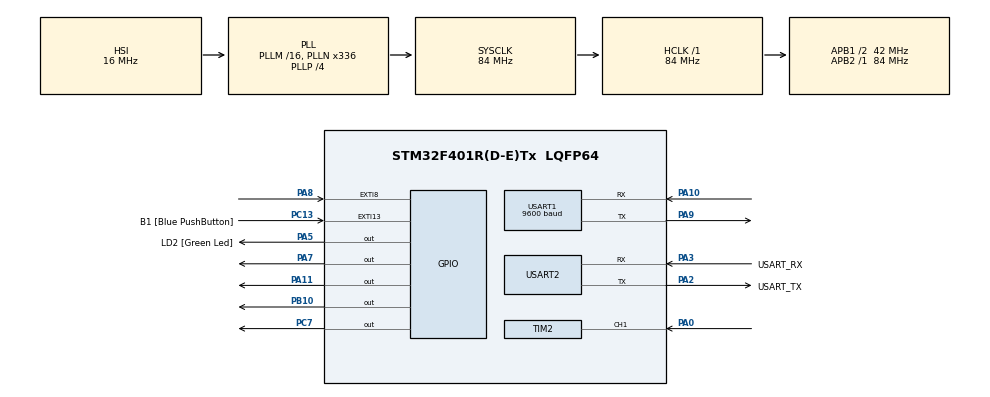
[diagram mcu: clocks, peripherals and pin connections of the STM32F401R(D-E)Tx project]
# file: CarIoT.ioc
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Mcu.Family=STM32F4
Mcu.Name=STM32F401R(D-E)Tx
Mcu.Package=LQFP64
NVIC.EXTI9_5_IRQn=true\:0\:0\:false\:false\:true\:true\:true\:true
NVIC.PriorityGroup=NVIC_PRIORITYGROUP_0
NVIC.TIM2_IRQn=true\:0\:0\:false\:false\:true\:true\:true\:true
NVIC.USART1_IRQn=true\:0\:0\:false\:false\:true\:true\:true\:true
PA0-WKUP.Signal=S_TIM2_CH1_ETR
PA10.Mode=Asynchronous
PA10.Signal=USART1_RX
PA11.Signal=GPIO_Output
PA13.GPIO_Label=TMS
PA13.Mode=Serial_Wire
PA13.Signal=SYS_JTMS-SWDIO
PA14.GPIO_Label=TCK
PA14.Mode=Serial_Wire
PA14.Signal=SYS_JTCK-SWCLK
PA2.GPIO_Label=USART_TX
PA2.GPIO_Mode=GPIO_MODE_AF_PP
PA2.GPIO_PuPd=GPIO_NOPULL
PA2.GPIO_Speed=GPIO_SPEED_FREQ_LOW
PA2.Mode=Asynchronous
PA2.Signal=USART2_TX
PA3.GPIO_Label=USART_RX
PA3.GPIO_Mode=GPIO_MODE_AF_PP
PA3.GPIO_PuPd=GPIO_NOPULL
PA3.GPIO_Speed=GPIO_SPEED_FREQ_LOW
PA3.Mode=Asynchronous
PA3.Signal=USART2_RX
PA5.GPIO_Label=LD2 [Green Led]
PA5.GPIO_Mode=GPIO_MODE_OUTPUT_PP
PA5.GPIO_PuPd=GPIO_NOPULL
PA5.GPIO_Speed=GPIO_SPEED_FREQ_LOW
PA5.Signal=GPIO_Output
PA7.Signal=GPIO_Output
PA8.GPIO_ModeDefaultEXTI=GPIO_MODE_IT_FALLING
PA8.GPIO_PuPd=GPIO_PULLUP
PA8.Signal=GPXTI8
PA9.Mode=Asynchronous
PA9.Signal=USART1_TX
PB10.Signal=GPIO_Output
PB3.GPIO_Label=SWO
PB3.Signal=SYS_JTDO-SWO
PC13-ANTI_TAMP.GPIO_Label=B1 [Blue PushButton]
PC13-ANTI_TAMP.GPIO_ModeDefaultEXTI=GPIO_MODE_IT_FALLING
PC13-ANTI_TAMP.GPIO_PuPd=GPIO_NOPULL
PC13-ANTI_TAMP.Signal=GPXTI13
PC14-OSC32_IN.Mode=LSE-External-Oscillator
PC14-OSC32_IN.Signal=RCC_OSC32_IN
PC15-OSC32_OUT.Mode=LSE-External-Oscillator
PC15-OSC32_OUT.Signal=RCC_OSC32_OUT
PC7.Signal=GPIO_Output
PH0\ -\ OSC_IN.Mode=HSE-External-Clock-Source
PH0\ -\ OSC_IN.Signal=RCC_OSC_IN
PH1\ -\ OSC_OUT.Mode=HSE-External-Clock-Source
PH1\ -\ OSC_OUT.Signal=RCC_OSC_OUT
ProjectManager.HeapSize=0x200
ProjectManager.StackSize=0x400
ProjectManager.TargetToolchain=STM32CubeIDE
RCC.48MHZClocksFreq_Value=48000000
RCC.AHBFreq_Value=84000000
RCC.APB1CLKDivider=RCC_HCLK_DIV2
RCC.APB1Freq_Value=42000000
RCC.APB1TimFreq_Value=84000000
RCC.APB2Freq_Value=84000000
RCC.APB2TimFreq_Value=84000000
RCC.CortexFreq_Value=84000000
RCC.HCLKFreq_Value=84000000
RCC.HSE_VALUE=8000000
RCC.HSI_VALUE=16000000
RCC.PLLN=336
RCC.PLLP=RCC_PLLP_DIV4
RCC.PLLQ=7
RCC.SYSCLKFreq_VALUE=84000000
RCC.SYSCLKSource=RCC_SYSCLKSOURCE_PLLCLK
RCC.VCOOutputFreq_Value=336000000
SH.S_TIM2_CH1_ETR.0=TIM2_CH1,Input_Capture1_from_TI1
TIM2.Channel-Input_Capture1_from_TI1=TIM_CHANNEL_1
TIM2.ICPolarity_CH1=TIM_INPUTCHANNELPOLARITY_BOTHEDGE
TIM2.Prescaler=84-1
TIM2.TIM_MasterOutputTrigger=TIM_TRGO_RESET
USART1.BaudRate=9600
USART1.VirtualMode=VM_ASYNC
USART2.VirtualMode=VM_ASYNC
VP_TIM2_VS_ClockSourceINT.Mode=Internal
board=NUCLEO-F401RE

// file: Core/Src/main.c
/* USER CODE BEGIN Header */
/**
  ******************************************************************************
  * @file           : main.c
  * @brief          : Main program body
  ******************************************************************************
  * @attention
  *
  * Copyright (c) 2023 STMicroelectronics.
  * All rights reserved.
  *
  * This software is licensed under terms that can be found in the LICENSE file
  * in the root directory of this software component.
  * If no LICENSE file comes with this software, it is provided AS-IS.
  *
  ******************************************************************************
  */
/* USER CODE END Header */
#include "main.h"

/* USER CODE BEGIN PD */
#define TRIG_PIN GPIO_PIN_7
#define TRIG_PORT GPIOA

/* USER CODE END PD */

TIM_HandleTypeDef htim2;

UART_HandleTypeDef huart1;
UART_HandleTypeDef huart2;

/* USER CODE BEGIN PV */
// SERIAL
char buf[0] = {0};
char rx_data[10];
char rx_buttonsLED[1];
// ULTRASONS
uint64_t IC_Val1 = 0;
uint64_t IC_Val2 = 0;
double Difference = 0;
uint8_t Is_First_Captured = 0;
double Distance = 0;
uint8_t DistanceCm = 0;
/* USER CODE END PV */

void SystemClock_Config(void);
static void MX_GPIO_Init(void);
static void MX_USART2_UART_Init(void);
static void MX_USART1_UART_Init(void);
static void MX_TIM2_Init(void);

/* USER CODE BEGIN 0 */
// ULTRASON
void HCSR04_Read (void)
{
    HAL_GPIO_WritePin(TRIG_PORT, TRIG_PIN, GPIO_PIN_SET);
    HAL_Delay(10);
    HAL_GPIO_WritePin(TRIG_PORT, TRIG_PIN, GPIO_PIN_RESET);
    HAL_TIM_IC_Start_IT(&htim2, TIM_CHANNEL_1);
}

// MOTOR
void HAL_UART_RxCpltCallback(UART_HandleTypeDef *huart)
{
    /*if (rx_data[0] == '1') {
        HAL_GPIO_WritePin(GPIOA, GPIO_PIN_5, 1);
    }
    else {
        HAL_GPIO_WritePin(GPIOA, GPIO_PIN_5, 0);
    }*/

	HAL_UART_Receive_IT(&huart1, rx_data, 2);
}

// ULTRASONS
void HAL_TIM_IC_CaptureCallback(TIM_HandleTypeDef *htim)
{
	 if (Is_First_Captured==0) // if the first value is not captured
	    {
	        IC_Val1 = HAL_TIM_ReadCapturedValue(&htim2, TIM_CHANNEL_2); // read the first value
	        Is_First_Captured = 1;  // set the first captured as true
	    }
	    else if (Is_First_Captured==1)   // if the first is already captured
	    {
	        IC_Val2 = HAL_TIM_ReadCapturedValue(&htim2, TIM_CHANNEL_2);  // read second value
	        if (IC_Val2 > IC_Val1)
	        {
	            Difference = IC_Val2-IC_Val1;
	        }
	        else if (IC_Val1 > IC_Val2)
	        {
	            Difference = (0xffffffff - IC_Val1) + IC_Val2;
	        }
	        Difference = Difference / 1000000;
	        Distance = Difference * 340/2;
	        Distance = Distance * 100;
	        DistanceCm = (uint8_t) Distance;
	        Is_First_Captured = 0; // set it back to false

	        buf[0] = DistanceCm;
	        HAL_UART_Transmit(&huart1,(uint8_t *)buf, 1, 1000);
	        // set polarity to rising edge
	        HAL_TIM_IC_Stop_IT(&htim2, TIM_CHANNEL_1);
	        __HAL_TIM_SET_COUNTER(&htim2, 0);  // reset the counter
	    }
}

/* USER CODE END 0 */

int main(void)
{

  /* MCU Configuration--------------------------------------------------------*/

  /* Reset of all peripherals, Initializes the Flash interface and the Systick. */
  HAL_Init();

  /* Configure the system clock */
  SystemClock_Config();

  /* Initialize all configured peripherals */
  MX_GPIO_Init();
  MX_USART2_UART_Init();
  MX_USART1_UART_Init();
  MX_TIM2_Init();
  /* USER CODE BEGIN 2 */
  HAL_UART_Receive_IT(&huart1, rx_data, 2);
  /* USER CODE END 2 */

  /* Infinite loop */
  while (1)
  {

    /* USER CODE BEGIN 3 */
	  // MOTOR PART
	  HAL_UART_Transmit(&huart1, (uint8_t *)buf, 1, 1000);
	  HAL_Delay(1000);

	  // LED monitoring
	  if (rx_data[0] == 0) {
		  //HAL_GPIO_TogglePin(GPIOB, GPIO_PIN_10);
		  // Turn on LED left
		  /*if (HAL_GPIO_ReadPin(GPIOB, GPIO_PIN_10) == 0) {
			  HAL_GPIO_WritePin(GPIOB, GPIO_PIN_10, GPIO_PIN_SET);
			  HAL_GPIO_WritePin(GPIOC, GPIO_PIN_7, GPIO_PIN_RESET);
		  } else {
			  // Turn off LED left
			  HAL_GPIO_WritePin(GPIOB, GPIO_PIN_10, GPIO_PIN_RESET);
			  HAL_GPIO_WritePin(GPIOC, GPIO_PIN_7, GPIO_PIN_RESET);
		  }
		  HAL_Delay(1000);
		  */
		  // WARNING
		  HAL_GPIO_TogglePin(GPIOB, GPIO_PIN_10);
		  HAL_GPIO_TogglePin(GPIOC, GPIO_PIN_7);
		  // Turn off the other LED
		  //HAL_GPIO_TogglePin(GPIOB, GPIO_PIN_10);
	  } else if (rx_data[0] == 'R') {
		  // Turn on LED right
		  if (HAL_GPIO_ReadPin(GPIOC, GPIO_PIN_7) == 0) {
			  HAL_GPIO_WritePin(GPIOC, GPIO_PIN_7, GPIO_PIN_SET);
			  HAL_GPIO_WritePin(GPIOB, GPIO_PIN_10, GPIO_PIN_RESET);
		  } else {
			  // Turn off LED right
			  HAL_GPIO_WritePin(GPIOC, GPIO_PIN_7, GPIO_PIN_RESET);
			  HAL_GPIO_WritePin(GPIOB, GPIO_PIN_10, GPIO_PIN_RESET);
		  }
		  HAL_Delay(1000);
	  }

	  // ULTRASON
	  HCSR04_Read();
	  HAL_Delay(200);

  }
  /* USER CODE END 3 */
}

void SystemClock_Config(void)
{
  RCC_OscInitTypeDef RCC_OscInitStruct = {0};
  RCC_ClkInitTypeDef RCC_ClkInitStruct = {0};

  /** Configure the main internal regulator output voltage
  */
  __HAL_RCC_PWR_CLK_ENABLE();
  __HAL_PWR_VOLTAGESCALING_CONFIG(PWR_REGULATOR_VOLTAGE_SCALE2);

  /** Initializes the RCC Oscillators according to the specified parameters
  * in the RCC_OscInitTypeDef structure.
  */
  RCC_OscInitStruct.OscillatorType = RCC_OSCILLATORTYPE_HSI;
  RCC_OscInitStruct.HSIState = RCC_HSI_ON;
  RCC_OscInitStruct.HSICalibrationValue = RCC_HSICALIBRATION_DEFAULT;
  RCC_OscInitStruct.PLL.PLLState = RCC_PLL_ON;
  RCC_OscInitStruct.PLL.PLLSource = RCC_PLLSOURCE_HSI;
  RCC_OscInitStruct.PLL.PLLM = 16;
  RCC_OscInitStruct.PLL.PLLN = 336;
  RCC_OscInitStruct.PLL.PLLP = RCC_PLLP_DIV4;
  RCC_OscInitStruct.PLL.PLLQ = 7;
  if (HAL_RCC_OscConfig(&RCC_OscInitStruct) != HAL_OK)
  {
    Error_Handler();
  }

  /** Initializes the CPU, AHB and APB buses clocks
  */
  RCC_ClkInitStruct.ClockType = RCC_CLOCKTYPE_HCLK|RCC_CLOCKTYPE_SYSCLK
                              |RCC_CLOCKTYPE_PCLK1|RCC_CLOCKTYPE_PCLK2;
  RCC_ClkInitStruct.SYSCLKSource = RCC_SYSCLKSOURCE_PLLCLK;
  RCC_ClkInitStruct.AHBCLKDivider = RCC_SYSCLK_DIV1;
  RCC_ClkInitStruct.APB1CLKDivider = RCC_HCLK_DIV2;
  RCC_ClkInitStruct.APB2CLKDivider = RCC_HCLK_DIV1;

  if (HAL_RCC_ClockConfig(&RCC_ClkInitStruct, FLASH_LATENCY_2) != HAL_OK)
  {
    Error_Handler();
  }
}

static void MX_TIM2_Init(void)
{

  TIM_ClockConfigTypeDef sClockSourceConfig = {0};
  TIM_MasterConfigTypeDef sMasterConfig = {0};
  TIM_IC_InitTypeDef sConfigIC = {0};

  htim2.Instance = TIM2;
  htim2.Init.Prescaler = 84-1;
  htim2.Init.CounterMode = TIM_COUNTERMODE_UP;
  htim2.Init.Period = 4294967295;
  htim2.Init.ClockDivision = TIM_CLOCKDIVISION_DIV1;
  htim2.Init.AutoReloadPreload = TIM_AUTORELOAD_PRELOAD_DISABLE;
  if (HAL_TIM_Base_Init(&htim2) != HAL_OK)
  {
    Error_Handler();
  }
  sClockSourceConfig.ClockSource = TIM_CLOCKSOURCE_INTERNAL;
  if (HAL_TIM_ConfigClockSource(&htim2, &sClockSourceConfig) != HAL_OK)
  {
    Error_Handler();
  }
  if (HAL_TIM_IC_Init(&htim2) != HAL_OK)
  {
    Error_Handler();
  }
  sMasterConfig.MasterOutputTrigger = TIM_TRGO_RESET;
  sMasterConfig.MasterSlaveMode = TIM_MASTERSLAVEMODE_DISABLE;
  if (HAL_TIMEx_MasterConfigSynchronization(&htim2, &sMasterConfig) != HAL_OK)
  {
    Error_Handler();
  }
  sConfigIC.ICPolarity = TIM_INPUTCHANNELPOLARITY_BOTHEDGE;
  sConfigIC.ICSelection = TIM_ICSELECTION_DIRECTTI;
  sConfigIC.ICPrescaler = TIM_ICPSC_DIV1;
  sConfigIC.ICFilter = 0;
  if (HAL_TIM_IC_ConfigChannel(&htim2, &sConfigIC, TIM_CHANNEL_1) != HAL_OK)
  {
    Error_Handler();
  }

}

static void MX_USART1_UART_Init(void)
{

  huart1.Instance = USART1;
  huart1.Init.BaudRate = 9600;
  huart1.Init.WordLength = UART_WORDLENGTH_8B;
  huart1.Init.StopBits = UART_STOPBITS_1;
  huart1.Init.Parity = UART_PARITY_NONE;
  huart1.Init.Mode = UART_MODE_TX_RX;
  huart1.Init.HwFlowCtl = UART_HWCONTROL_NONE;
  huart1.Init.OverSampling = UART_OVERSAMPLING_16;
  if (HAL_UART_Init(&huart1) != HAL_OK)
  {
    Error_Handler();
  }

}

static void MX_USART2_UART_Init(void)
{

  huart2.Instance = USART2;
  huart2.Init.BaudRate = 115200;
  huart2.Init.WordLength = UART_WORDLENGTH_8B;
  huart2.Init.StopBits = UART_STOPBITS_1;
  huart2.Init.Parity = UART_PARITY_NONE;
  huart2.Init.Mode = UART_MODE_TX_RX;
  huart2.Init.HwFlowCtl = UART_HWCONTROL_NONE;
  huart2.Init.OverSampling = UART_OVERSAMPLING_16;
  if (HAL_UART_Init(&huart2) != HAL_OK)
  {
    Error_Handler();
  }

}

static void MX_GPIO_Init(void)
{
  GPIO_InitTypeDef GPIO_InitStruct = {0};

  /* GPIO Ports Clock Enable */
  __HAL_RCC_GPIOC_CLK_ENABLE();
  __HAL_RCC_GPIOH_CLK_ENABLE();
  __HAL_RCC_GPIOA_CLK_ENABLE();
  __HAL_RCC_GPIOB_CLK_ENABLE();

  /*Configure GPIO pin Output Level */
  HAL_GPIO_WritePin(GPIOA, LD2_Pin|GPIO_PIN_7|GPIO_PIN_11, GPIO_PIN_RESET);

  /*Configure GPIO pin Output Level */
  HAL_GPIO_WritePin(GPIOB, GPIO_PIN_10, GPIO_PIN_RESET);

  /*Configure GPIO pin Output Level */
  HAL_GPIO_WritePin(GPIOC, GPIO_PIN_7, GPIO_PIN_RESET);

  /*Configure GPIO pin : B1_Pin */
  GPIO_InitStruct.Pin = B1_Pin;
  GPIO_InitStruct.Mode = GPIO_MODE_IT_FALLING;
  GPIO_InitStruct.Pull = GPIO_NOPULL;
  HAL_GPIO_Init(B1_GPIO_Port, &GPIO_InitStruct);

  /*Configure GPIO pins : LD2_Pin PA7 PA11 */
  GPIO_InitStruct.Pin = LD2_Pin|GPIO_PIN_7|GPIO_PIN_11;
  GPIO_InitStruct.Mode = GPIO_MODE_OUTPUT_PP;
  GPIO_InitStruct.Pull = GPIO_NOPULL;
  GPIO_InitStruct.Speed = GPIO_SPEED_FREQ_LOW;
  HAL_GPIO_Init(GPIOA, &GPIO_InitStruct);

  /*Configure GPIO pin : PB10 */
  GPIO_InitStruct.Pin = GPIO_PIN_10;
  GPIO_InitStruct.Mode = GPIO_MODE_OUTPUT_PP;
  GPIO_InitStruct.Pull = GPIO_NOPULL;
  GPIO_InitStruct.Speed = GPIO_SPEED_FREQ_LOW;
  HAL_GPIO_Init(GPIOB, &GPIO_InitStruct);

  /*Configure GPIO pin : PC7 */
  GPIO_InitStruct.Pin = GPIO_PIN_7;
  GPIO_InitStruct.Mode = GPIO_MODE_OUTPUT_PP;
  GPIO_InitStruct.Pull = GPIO_NOPULL;
  GPIO_InitStruct.Speed = GPIO_SPEED_FREQ_LOW;
  HAL_GPIO_Init(GPIOC, &GPIO_InitStruct);

  /*Configure GPIO pin : PA8 */
  GPIO_InitStruct.Pin = GPIO_PIN_8;
  GPIO_InitStruct.Mode = GPIO_MODE_IT_FALLING;
  GPIO_InitStruct.Pull = GPIO_PULLUP;
  HAL_GPIO_Init(GPIOA, &GPIO_InitStruct);

  /* EXTI interrupt init*/
  HAL_NVIC_SetPriority(EXTI9_5_IRQn, 0, 0);
  HAL_NVIC_EnableIRQ(EXTI9_5_IRQn);

}

void Error_Handler(void)
{
  __disable_irq();
  while (1)
  {
  }
}
